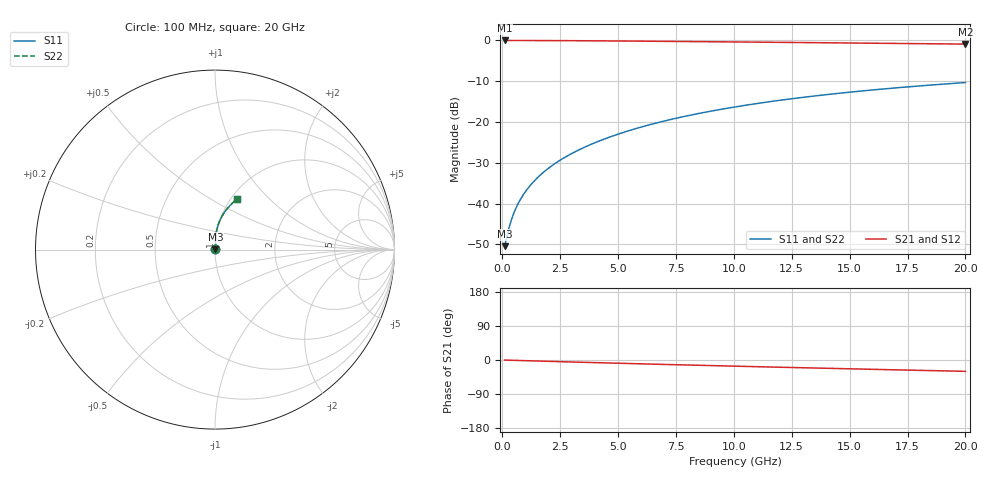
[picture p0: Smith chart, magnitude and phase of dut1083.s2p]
! Touchstone file exported from HFSS 2024.1.0
!  File:  C:/UserFiles/LocalFiles/RDL_TSV_Batchsim/temp_RDL_top_1083_1780045645.aedt
!  Generated:  05:09:25 PM May 29, 2026
!  Design:  RDL_top
!  Project:  temp_RDL_top_1083_1780045645
!  Setup:  Setup1
!  Solution:  Sweep
! Variables:
!  dtsv = 10.80580581um
!  hbump = 3um
!  htsv = 70.41um
!  ldown = 100um
!  lrdl = 379.71um
!  p = 40
!  p1 = 55.9um
!  rhole = 1um
!  t = 450um
!  tdown = 3.915915916um
!  trdl = 2.38um
!  wdown = 15.38538539um
!  wrdl = 24.86um
# GHz S MA R 50.000000
! Terminal data exported
! Port[1] = Box2_T1
! Port[2] = Box2_T2
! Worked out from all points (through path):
!   200 points, 100 MHz to 20 GHz, reference 50 ohm
!   highest |S21| = -0.02 dB at 100 MHz (marker M1); lowest = -0.9 dB at 20 GHz (marker M2)
!   group delay of S21, straight-line fit = 4.12 ps
!   lowest |S11| = -50.5 dB at 100 MHz (marker M3), VSWR 1.01, Z = 50.3 + j0.148 ohm
!   |S11| at or under -10 dB: start of sweep to end of sweep
!   |S22| runs from -50.5 to -10.3 dB; largest |S21 - S12| = 4.3e-15
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0.1  0.003 29.5  0.9974 -0.2  0.9974 -0.2  0.003 29.5
! Gamma 0 0 0 0
! Port Impedance 50 0 50 0
0.3  0.005153 57.4  0.9971 -0.6  0.9971 -0.6  0.005153 57.4
0.4  0.006398 63.3  0.997 -0.7  0.997 -0.7  0.006398 63.3
0.5  0.007658 67.2  0.9968 -0.9  0.9968 -0.9  0.007658 67.2
0.6  0.00892 70.1  0.9967 -1.1  0.9967 -1.1  0.00892 70.1
0.8  0.01145 74.1  0.9964 -1.4  0.9964 -1.4  0.01145 74.1
1.1  0.01528 77.9  0.9959 -2.0  0.9959 -2.0  0.01528 77.9
1.3  0.01787 79.6  0.9955 -2.3  0.9955 -2.3  0.01787 79.6
1.6  0.0218 81.6  0.9949 -2.8  0.9949 -2.8  0.0218 81.6
2.1  0.02851 83.7  0.9938 -3.7  0.9938 -3.7  0.02851 83.7
2.7  0.0368 85.3  0.992 -4.7  0.992 -4.7  0.0368 85.3
3.5  0.04824 86.4  0.9892 -6.1  0.9892 -6.1  0.04824 86.4
4.2  0.05861 86.8  0.9864 -7.3  0.9864 -7.3  0.05861 86.8
5  0.07084 86.8  0.9828 -8.6  0.9828 -8.6  0.07084 86.8
5.9  0.08498 86.3  0.9785 -10.0  0.9785 -10.0  0.08499 86.3
6.8  0.09945 85.6  0.9739 -11.4  0.9739 -11.4  0.09946 85.6
8.4  0.1256 83.8  0.9655 -13.9  0.9655 -13.9  0.1256 83.8
10.1  0.1536 81.5  0.9563 -16.4  0.9563 -16.4  0.1536 81.5
11.7  0.1797 79.1  0.9475 -18.7  0.9475 -18.7  0.1797 79.1
13.4  0.2068 76.5  0.938 -21.1  0.938 -21.1  0.2068 76.5
16.7  0.2572 71.5  0.9193 -25.6  0.9193 -25.6  0.2573 71.5
20  0.3041 66.6  0.9001 -29.9  0.9001 -29.9  0.3041 66.6
